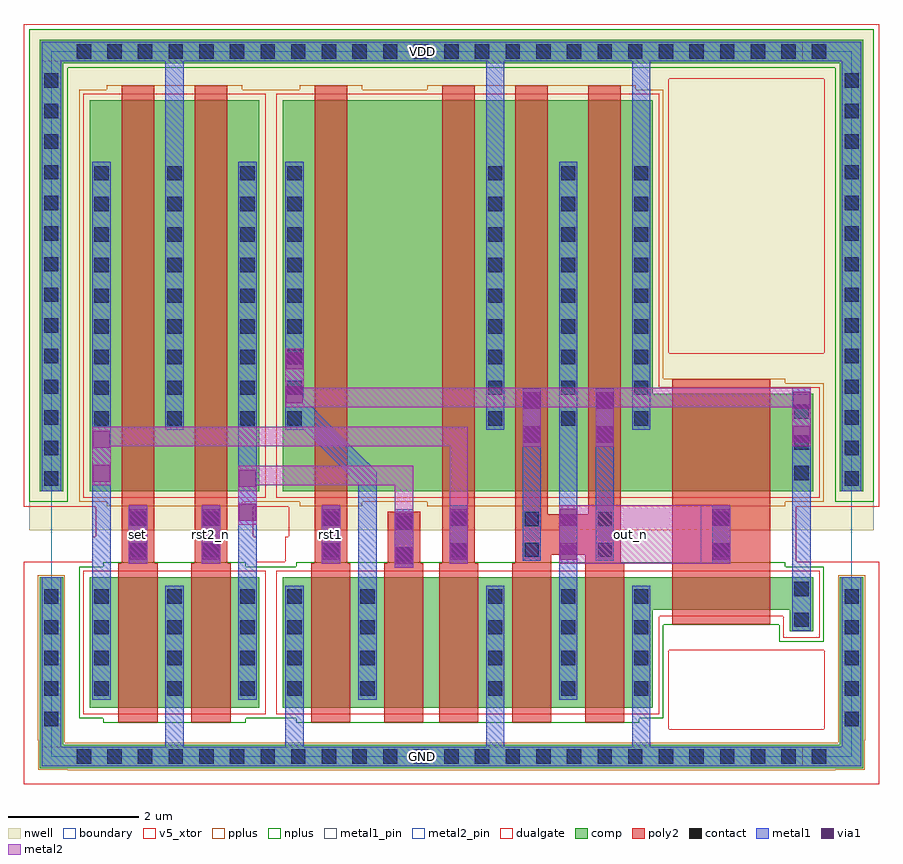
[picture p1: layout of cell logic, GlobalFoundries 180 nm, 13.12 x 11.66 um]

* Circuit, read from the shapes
.subckt logic GND VDD out_n rst1 rst2_n set
XM1 GND set n1 GND nfet_05v0 w=2u l=0.6u
XM2 n2 rst2_n GND GND nfet_05v0 w=2u l=0.6u
XM3 n3 rst1 GND GND nfet_05v0 w=2u l=0.6u
XM4 n4 n2 n3 GND nfet_05v0 w=2u l=0.6u
XM5 GND n1 n4 GND nfet_05v0 w=2u l=0.6u
XM6 out_n n3 GND GND nfet_05v0 w=2u l=0.6u m=2
XM7 n3 out_n GND GND nfet_05v0 w=0.5u l=1.5u
XM8 VDD set n1 VDD pfet_05v0 w=6u l=0.5u
XM9 n2 rst2_n VDD VDD pfet_05v0 w=6u l=0.5u
XM10 n5 rst1 n3 VDD pfet_05v0 w=6u l=0.5u
XM11 VDD n1 n5 VDD pfet_05v0 w=6u l=0.5u
XM12 out_n n3 VDD VDD pfet_05v0 w=6u l=0.5u m=2
XM13 n3 out_n VDD VDD pfet_05v0 w=1.5u l=1.5u
.ends

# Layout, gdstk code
import gdstk
lib = gdstk.Library(unit=1e-6, precision=1e-09)
def R(c, l, rs):  # rectangles x0, y0, x1, y1
    for r in rs: c.add(gdstk.rectangle(r[:2], r[2:], *l))
def A(c, l, x, y, w, h, nx, ny, dx, dy):  # array of equal rectangles
    R(c, l, [(x+i*dx, y+j*dy, x+i*dx+w, y+j*dy+h) for i in range(nx) for j in range(ny)])
def P(c, l, *ps):  # polygons
    for p in ps: c.add(gdstk.Polygon(p, *l))
boundary = (0, 0)
nwell = (21, 0)
comp = (22, 0)
poly2 = (30, 0)
pplus = (31, 0)
nplus = (32, 0)
contact = (33, 0)
metal1 = (34, 0)
metal1_pin = (34, 10)
via1 = (35, 0)
metal2 = (36, 0)
metal2_pin = (36, 10)
dualgate = (55, 0)
v5_xtor = (112, 1)

logic = lib.new_cell('logic')
R(logic, boundary, [(0,0,12.28,10.82)])
R(logic, nwell, [(-0.34,3.47,12.62,11.16)])
R(logic, comp, [(-0.18,-0.18,12.46,0.18), (-0.18,0.18,0.18,2.75), (12.1,0.18,12.46,2.75), (0.59,0.75,3.19,2.75), (3.55,0.75,9.23,2.25), (11.33,1.92,11.69,2.25), (3.55,2.25,11.69,2.75), (-0.18,4.07,0.18,10.64), (0.59,4.07,3.19,10.07), (3.55,4.07,11.69,5.57), (12.1,4.07,12.46,10.64), (3.55,5.57,9.23,10.07), (-0.18,10.64,12.46,11)])
A(logic, poly2, 5.95, 0.53, 0.6, 2.44, 3, 1, 1.12, 0)
R(logic, poly2, [(1.03,0.53,1.63,2.97), (2.15,0.53,2.75,2.97), (3.99,0.53,4.59,2.97), (5.11,0.53,5.71,2.97), (9.53,2.03,11.03,5.79), (1.08,2.97,1.58,10.29), (2.2,2.97,2.7,10.29), (4.04,2.97,4.54,10.29), (5.16,2.97,5.66,3.76), (6,2.97,6.5,10.29), (7.12,2.97,7.67,3.1), (8.19,2.97,8.74,3.1), (7.12,3.1,8.74,3.72), (7.12,3.72,7.62,10.29), (8.24,3.72,8.74,10.29)])
R(logic, pplus, [(0.255,-0.21,12.025,-0.2), (-0.2,-0.2,12.48,0.21), (-0.2,0.21,0.21,0.255), (12.07,0.21,12.48,0.255), (-0.21,0.255,0.21,2.78), (12.07,0.255,12.49,2.78), (0.85,3.84,2.93,3.91), (3.81,3.84,4.77,3.91), (5.77,3.84,11.26,3.91), (0.43,3.91,11.85,5.73), (0.43,5.73,11.26,5.8), (0.43,5.8,9.39,10.23), (0.85,10.23,2.93,10.3), (3.81,10.23,4.77,10.3), (5.77,10.23,8.97,10.3)])
R(logic, nplus, [(0.8,0.52,2.98,0.59), (3.76,0.52,9.02,0.59), (0.43,0.59,9.39,2.02), (11.17,1.76,11.85,2.02), (0.43,2.02,11.85,2.91), (0.8,2.91,2.98,2.98), (3.76,2.91,11.26,2.98), (-0.34,3.91,0.25,10.57), (12.03,3.91,12.62,10.57), (-0.34,10.57,12.62,11.16)])
A(logic, contact, 0.39, -0.11, 0.22, 0.22, 25, 2, 0.47, 10.82)
A(logic, contact, -0.11, 0.465, 0.22, 0.22, 1, 5, 0, 0.47)
A(logic, contact, 12.17, 0.465, 0.22, 0.22, 1, 5, 0, 0.47)
A(logic, contact, 0.66, 0.935, 0.22, 0.22, 3, 4, 1.12, 0.47)
A(logic, contact, 3.62, 0.935, 0.22, 0.22, 1, 4, 0, 0.47)
A(logic, contact, 4.74, 0.935, 0.22, 0.22, 1, 4, 0, 0.47)
A(logic, contact, 6.7, 0.935, 0.22, 0.22, 3, 4, 1.12, 0.47)
A(logic, contact, 6.14, 3.065, 0.22, 0.22, 3, 2, 1.12, 0.47)
A(logic, contact, -0.11, 4.155, 0.22, 0.22, 1, 14, 0, 0.47)
A(logic, contact, 12.17, 4.155, 0.22, 0.22, 1, 14, 0, 0.47)
A(logic, contact, 11.4, 4.24, 0.22, 0.22, 1, 3, 0, 0.47)
A(logic, contact, 0.66, 5.08, 0.22, 0.22, 3, 9, 1.12, 0.47)
A(logic, contact, 3.62, 5.08, 0.22, 0.22, 1, 9, 0, 0.47)
A(logic, contact, 6.7, 5.08, 0.22, 0.22, 3, 9, 1.12, 0.47)
R(logic, contact, [(11.4,1.99,11.62,2.21), (11.4,2.46,11.62,2.68), (5.3,3,5.52,3.22), (1.22,3.065,1.44,3.285), (2.34,3.065,2.56,3.285), (4.18,3.065,4.4,3.285), (10.17,3.065,10.39,3.285), (5.3,3.47,5.52,3.69), (1.22,3.535,1.44,3.755), (2.34,3.535,2.56,3.755), (4.18,3.535,4.4,3.755), (10.17,3.535,10.39,3.755)])
R(logic, metal1, [(-0.15,-0.15,12.43,0.15), (-0.15,0.15,0.15,2.75), (1.75,0.15,2.03,2.625), (3.59,0.15,3.87,2.625), (6.67,0.15,6.95,2.625), (8.91,0.15,9.19,2.625), (12.13,0.15,12.43,2.75), (0.63,0.875,0.91,9.125), (2.87,0.875,3.15,9.125), (4.71,0.875,4.99,4.375), (7.79,0.875,8.07,9.125), (11.37,1.93,11.65,5.66), (5.27,2.895,5.55,3.795), (1.19,2.96,1.47,3.86), (2.31,2.96,2.59,3.86), (4.15,2.96,4.43,3.86), (6.11,2.96,6.39,3.86), (10.14,2.96,10.42,3.86), (7.23,3.005,7.51,5.655), (8.35,3.005,8.63,5.655), (-0.15,4.07,0.15,10.67), (12.13,4.07,12.43,10.67), (4.23,4.655,4.295,5.015), (1.75,5.015,2.03,10.67), (3.59,5.015,4.295,5.07), (6.67,5.015,6.95,10.67), (8.91,5.015,9.19,10.67), (3.59,5.07,3.87,9.125), (-0.15,10.67,12.43,10.97)])
P(logic, metal1, [(4.71,4.175),(4.23,4.655),(4.71,4.655)],
  [(4.295,4.655),(4.295,5.07),(4.71,4.655)],
  [(4.71,4.375),(4.71,4.655),(4.99,4.375)],
  [(4.23,4.655),(3.87,5.015),(4.23,5.015)],
  [(3.87,5.07),(3.87,5.495),(4.295,5.07)])
R(logic, metal1_pin, [(-0.15,-0.15,11.53,0.15), (-0.15,10.67,11.53,10.97)])
R(logic, via1, [(5.28,2.955,5.54,3.215), (1.2,3.02,1.46,3.28), (2.32,3.02,2.58,3.28), (4.16,3.02,4.42,3.28), (6.12,3.02,6.38,3.28), (7.8,3.02,8.06,3.28), (10.15,3.02,10.41,3.28), (5.28,3.475,5.54,3.735), (1.2,3.54,1.46,3.8), (2.32,3.54,2.58,3.8), (4.16,3.54,4.42,3.8), (6.12,3.54,6.38,3.8), (7.8,3.54,8.06,3.8), (10.15,3.54,10.41,3.8), (2.88,3.62,3.14,3.88), (2.88,4.14,3.14,4.4), (0.64,4.22,0.9,4.48), (0.64,4.74,0.9,5), (7.24,4.815,7.5,5.075), (8.36,4.815,8.62,5.075), (11.38,4.82,11.64,5.08), (7.24,5.335,7.5,5.595), (8.36,5.335,8.62,5.595), (11.38,5.34,11.64,5.6), (3.6,5.42,3.86,5.68), (3.6,5.94,3.86,6.2)])
R(logic, metal2, [(5.27,2.895,5.55,4.16), (1.19,2.96,1.47,3.86), (2.31,2.96,2.59,3.86), (4.15,2.96,4.43,3.86), (6.11,2.96,6.39,4.76), (7.79,2.96,10.42,3.86), (2.87,3.56,3.15,4.16), (0.63,4.16,0.91,4.76), (2.87,4.16,5.55,4.46), (7.23,4.755,7.51,5.36), (8.35,4.755,8.63,5.36), (0.63,4.76,6.39,5.06), (11.37,4.76,11.65,5.36), (3.59,5.36,11.65,5.66), (3.59,5.66,3.87,6.26)])
R(logic, metal2_pin, [(1.19,2.96,1.47,3.86), (2.31,2.96,2.59,3.86), (4.15,2.96,4.43,3.86), (7.79,2.96,9.97,3.86)])
R(logic, dualgate, [(-0.42,-0.42,12.7,0.42), (-0.42,0.42,9.47,1.63), (11.86,0.42,12.7,1.63), (-0.42,1.63,12.7,2.99), (0.63,2.99,3.15,3.37), (3.59,2.99,11.43,3.37), (0.68,3.37,3.1,3.83), (3.64,3.37,11.43,3.83), (-0.42,3.83,12.7,6.19), (-0.42,6.19,9.47,10.4), (11.86,6.19,12.7,10.4), (-0.42,10.4,12.7,11.24)])
R(logic, v5_xtor, [(0.49,0.65,3.29,2.85), (3.45,0.65,9.33,2.15), (11.23,1.82,11.79,2.15), (3.45,2.15,11.79,2.85), (0.49,3.97,3.29,10.17), (3.45,3.97,11.79,5.67), (3.45,5.67,9.33,10.17)])
logic.add(gdstk.Label('out_n', (8.88,3.41), layer=36, texttype=10))
logic.add(gdstk.Label('set', (1.33,3.41), layer=36, texttype=10))
logic.add(gdstk.Label('rst2_n', (2.45,3.41), layer=36, texttype=10))
logic.add(gdstk.Label('rst1', (4.29,3.41), layer=36, texttype=10))
logic.add(gdstk.Label('VDD', (5.69,10.82), layer=34, texttype=10))
logic.add(gdstk.Label('GND', (5.69,0), layer=34, texttype=10))

lib.write_gds('logic.gds')
